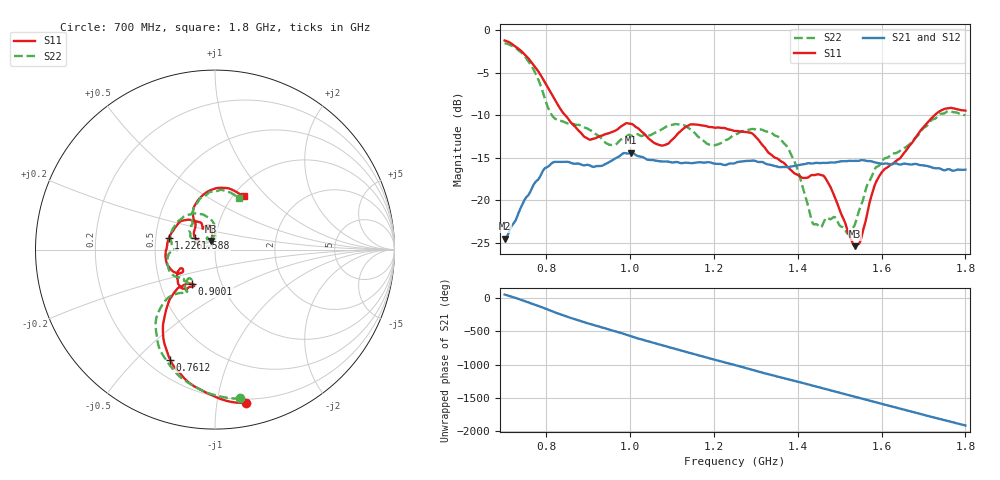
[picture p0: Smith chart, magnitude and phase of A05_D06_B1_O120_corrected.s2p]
! Created with skrf 1.9.0 (http://scikit-rf.org).
# Hz S RI R 50.0
!freq ReS11 ImS11 ReS21 ImS21 ReS12 ImS12 ReS22 ImS22
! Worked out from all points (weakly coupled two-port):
!   1601 points, 700 MHz to 1.8 GHz, reference 50 ohm
!   highest |S21| = -14.42 dB at 1.002 GHz (marker M1); lowest = -24.5 dB at 700.7 MHz (marker M2)
!   lowest |S11| = -25.4 dB at 1.537 GHz (marker M3), VSWR 1.11, Z = 47.4 + j4.52 ohm
!   |S11| at or under -10 dB: 844.6 MHz to 1.727 GHz (881.9 MHz wide, 68.6 % of centre)
!   |S22| runs from -24.0 to -1.5 dB; largest |S21 - S12| = 0.0034
!   S11 on the Smith chart (normalised r, x): 700 MHz: 0.17, -1.21; 761.2 MHz: 0.29, -0.63; 900.1 MHz: 0.73, -0.29; 1.226 GHz: 0.59, +0.08; 1.588 GHz: 0.79, +0.11; 1.8 GHz: 1.12, +0.75
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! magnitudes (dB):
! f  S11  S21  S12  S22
! 700 MHz  -1.2  -24.5  -24.3  -1.5
! 700.7 MHz  -1.2  -24.5  -24.2  -1.5
! 761.2 MHz  -3.6  -19.0  -18.9  -3.9
! 815.5 MHz  -7.8  -15.6  -15.6  -10.2
! 883.6 MHz  -12.2  -15.8  -15.7  -11.2
! 900.1 MHz  -12.8  -15.8  -15.9  -11.6
! 953.7 MHz  -12.0  -15.4  -15.4  -13.5
! 1.002 GHz  -11.0  -14.4  -14.5  -12.4
! 1.067 GHz  -13.5  -15.4  -15.3  -11.9
! 1.144 GHz  -11.1  -15.6  -15.6  -11.7
! 1.226 GHz  -11.5  -15.9  -15.8  -13.0
! 1.25 GHz  -11.9  -15.6  -15.6  -12.3
! 1.358 GHz  -15.4  -16.1  -16.1  -12.8
! 1.396 GHz  -16.9  -15.9  -15.9  -15.9
! 1.434 GHz  -17.0  -15.7  -15.6  -22.5
! 1.469 GHz  -17.6  -15.6  -15.6  -22.1
! 1.52 GHz  -23.7  -15.4  -15.4  -24.0
! 1.537 GHz  -25.4  -15.4  -15.4  -22.8
! 1.588 GHz  -17.7  -15.6  -15.6  -16.1
! 1.617 GHz  -16.0  -15.7  -15.7  -14.9
! 1.735 GHz  -9.7  -16.2  -16.3  -10.1
! 1.8 GHz  -9.5  -16.4  -16.4  -10.0
